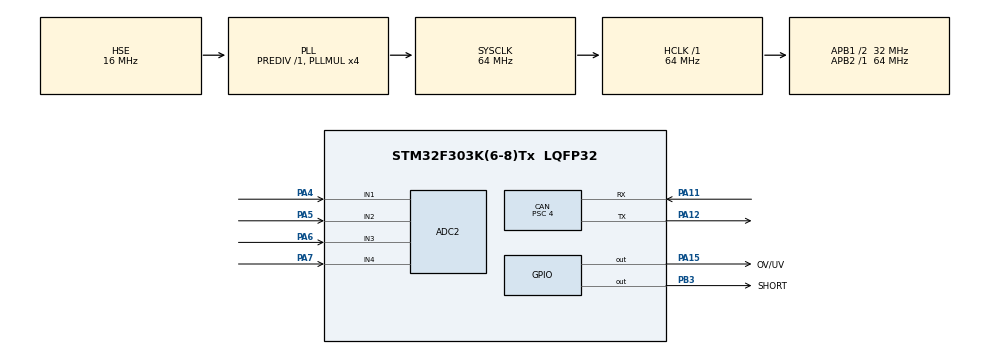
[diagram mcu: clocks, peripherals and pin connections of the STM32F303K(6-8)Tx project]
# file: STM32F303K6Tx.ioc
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ADC2.Channel-0\#ChannelRegularConversion=ADC_CHANNEL_1
ADC2.Channel-1\#ChannelRegularConversion=ADC_CHANNEL_2
ADC2.Channel-2\#ChannelRegularConversion=ADC_CHANNEL_3
ADC2.Channel-3\#ChannelRegularConversion=ADC_CHANNEL_4
ADC2.ContinuousConvMode=ENABLE
ADC2.DMAContinuousRequests=ENABLE
ADC2.NbrOfConversion=4
ADC2.NbrOfConversionFlag=1
ADC2.Offset-0\#ChannelRegularConversion=0
ADC2.Offset-1\#ChannelRegularConversion=0
ADC2.Offset-2\#ChannelRegularConversion=0
ADC2.Offset-3\#ChannelRegularConversion=0
ADC2.OffsetNumber-0\#ChannelRegularConversion=ADC_OFFSET_NONE
ADC2.OffsetNumber-1\#ChannelRegularConversion=ADC_OFFSET_NONE
ADC2.OffsetNumber-2\#ChannelRegularConversion=ADC_OFFSET_NONE
ADC2.OffsetNumber-3\#ChannelRegularConversion=ADC_OFFSET_NONE
ADC2.Rank-0\#ChannelRegularConversion=1
ADC2.Rank-1\#ChannelRegularConversion=2
ADC2.Rank-2\#ChannelRegularConversion=3
ADC2.Rank-3\#ChannelRegularConversion=4
ADC2.SamplingTime-0\#ChannelRegularConversion=ADC_SAMPLETIME_1CYCLE_5
ADC2.SamplingTime-1\#ChannelRegularConversion=ADC_SAMPLETIME_1CYCLE_5
ADC2.SamplingTime-2\#ChannelRegularConversion=ADC_SAMPLETIME_1CYCLE_5
ADC2.SamplingTime-3\#ChannelRegularConversion=ADC_SAMPLETIME_1CYCLE_5
ADC2.SamplingTimeOPAMP-1\#ChannelRegularConversion=ADC_SAMPLETIME_4CYCLES_5
ADC2.SamplingTimeOPAMP-2\#ChannelRegularConversion=ADC_SAMPLETIME_4CYCLES_5
ADC2.SamplingTimeOPAMP-3\#ChannelRegularConversion=ADC_SAMPLETIME_4CYCLES_5
CAN.BS1=CAN_BS1_11TQ
CAN.BS2=CAN_BS2_4TQ
CAN.CalculateBaudRate=500000
CAN.CalculateTimeBit=2000
CAN.CalculateTimeQuantum=125.0
CAN.Prescaler=4
Dma.ADC2.0.Direction=DMA_PERIPH_TO_MEMORY
Dma.ADC2.0.Instance=DMA1_Channel2
Dma.ADC2.0.MemDataAlignment=DMA_MDATAALIGN_HALFWORD
Dma.ADC2.0.MemInc=DMA_MINC_ENABLE
Dma.ADC2.0.Mode=DMA_CIRCULAR
Dma.ADC2.0.PeriphDataAlignment=DMA_PDATAALIGN_HALFWORD
Dma.ADC2.0.PeriphInc=DMA_PINC_DISABLE
Dma.ADC2.0.Priority=DMA_PRIORITY_LOW
Dma.Request0=ADC2
Mcu.Family=STM32F3
Mcu.Name=STM32F303K(6-8)Tx
Mcu.Package=LQFP32
NVIC.DMA1_Channel2_IRQn=true\:0\:0\:false\:false\:true\:false\:true\:true
NVIC.PriorityGroup=NVIC_PRIORITYGROUP_4
NVIC.TIM1_UP_TIM16_IRQn=true\:0\:0\:false\:false\:true\:true\:true\:true
NVIC.TIM2_IRQn=true\:0\:0\:false\:false\:true\:true\:true\:true
PA11.Mode=CAN_Activate
PA11.Signal=CAN_RX
PA12.Mode=CAN_Activate
PA12.Signal=CAN_TX
PA13.Mode=Serial_Wire
PA13.Signal=SYS_JTMS-SWDIO
PA14.Mode=Serial_Wire
PA14.Signal=SYS_JTCK-SWCLK
PA15.GPIO_Label=OV/UV
PA15.Signal=GPIO_Output
PA4.Mode=IN1-Single-Ended
PA4.Signal=ADC2_IN1
PA5.Mode=IN2-Single-Ended
PA5.Signal=ADC2_IN2
PA6.Mode=IN3-Single-Ended
PA6.Signal=ADC2_IN3
PA7.Mode=IN4-Single-Ended
PA7.Signal=ADC2_IN4
PB3.GPIO_Label=SHORT
PB3.Signal=GPIO_Output
PF0\ /\ OSC_IN.Mode=HSE-External-Oscillator
PF0\ /\ OSC_IN.Signal=RCC_OSC_IN
PF1\ /\ OSC_OUT.Mode=HSE-External-Oscillator
PF1\ /\ OSC_OUT.Signal=RCC_OSC_OUT
ProjectManager.HeapSize=0x200
ProjectManager.StackSize=0x400
ProjectManager.TargetToolchain=STM32CubeIDE
RCC.AHBFreq_Value=64000000
RCC.APB1CLKDivider=RCC_HCLK_DIV2
RCC.APB1Freq_Value=32000000
RCC.APB1TimFreq_Value=64000000
RCC.APB2Freq_Value=64000000
RCC.APB2TimFreq_Value=64000000
RCC.CortexFreq_Value=64000000
RCC.HCLKFreq_Value=64000000
RCC.HSE_VALUE=16000000
RCC.HSI_VALUE=8000000
RCC.PLLMUL=RCC_PLL_MUL4
RCC.PLLSourceVirtual=RCC_PLLSOURCE_HSE
RCC.SYSCLKFreq_VALUE=64000000
RCC.SYSCLKSourceVirtual=RCC_SYSCLKSOURCE_PLLCLK
TIM16.AutoReloadPreload=TIM_AUTORELOAD_PRELOAD_ENABLE
TIM16.Period=41999
TIM16.Prescaler=199
TIM2.Period=399
TIM2.Prescaler=31999
VP_TIM16_VS_ClockSourceINT.Mode=Enable_Timer
VP_TIM2_VS_ClockSourceINT.Mode=Internal
board=custom

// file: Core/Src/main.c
/* USER CODE BEGIN Header */
/**
  ******************************************************************************
  * @file           : main.c
  * @brief          : Main program body
  ******************************************************************************
  * @attention
  *
  * <h2><center>&copy; Copyright (c) 2021 STMicroelectronics.
  * All rights reserved.</center></h2>
  *
  * This software component is licensed by ST under BSD 3-Clause license,
  * the "License"; You may not use this file except in compliance with the
  * License. You may obtain a copy of the License at:
  *                        opensource.org/licenses/BSD-3-Clause
  *
  ******************************************************************************
  */
/* USER CODE END Header */
#include "main.h"

/* USER CODE BEGIN Includes */
#include "string.h"
/* USER CODE END Includes */

/* USER CODE BEGIN PD */
#define ADC_TO_VOLTAGE 0.000050366F
#define R_SHUNT 0.005F
#define VGain_1 8.5*ADC_TO_VOLTAGE
#define VGain_2 2.0*ADC_TO_VOLTAGE
#define IGain	ADC_TO_VOLTAGE/50.0/R_SHUNT
/* USER CODE END PD */

ADC_HandleTypeDef hadc2;
DMA_HandleTypeDef hdma_adc2;

CAN_HandleTypeDef hcan;

TIM_HandleTypeDef htim2;
TIM_HandleTypeDef htim16;

/* USER CODE BEGIN PV */
uint16_t ADC2ConvertedValues[64];
float VSense[2]; 	// first one is 5V, second one is 24V
float ISense[2]; 	// first one is 5V, second one is 24V
float offset[4] = {0.0, 0.0, 0.0, 0.0};
uint32_t sum = 0;
uint16_t mean = 0;
/* USER CODE END PV */

void SystemClock_Config(void);
static void MX_GPIO_Init(void);
static void MX_DMA_Init(void);
static void MX_ADC2_Init(void);
static void MX_CAN_Init(void);
static void MX_TIM2_Init(void);
static void MX_TIM16_Init(void);

int main(void)
{

  /* MCU Configuration--------------------------------------------------------*/

  /* Reset of all peripherals, Initializes the Flash interface and the Systick. */
  HAL_Init();

  /* Configure the system clock */
  SystemClock_Config();

  /* Initialize all configured peripherals */
  MX_GPIO_Init();
  MX_DMA_Init();
  MX_ADC2_Init();
  MX_CAN_Init();
  MX_TIM2_Init();
  MX_TIM16_Init();
  /* USER CODE BEGIN 2 */
  // Initializes CAN
  if (CANBus_init(&hcan, &htim16) != HAL_OK) {
    Error_Handler();
  }
  if(CANBus_subscribe(STATE_CHANGE_REQ) != HAL_OK) {
      Error_Handler();
  }

  hcan.Instance->MCR = 0x60; // important for debugging canbus, allows for normal operation during debugging
  HAL_ADC_Start_DMA(&hadc2, (uint32_t*)ADC2ConvertedValues, 64);
  //HAL_TIM_Base_Start_IT(&htim2);
  //__HAL_TIM_SET_COUNTER(&htim2, 0);
 // HAL_ADC_Start(&hadc2);

  /* USER CODE END 2 */

  /* Infinite loop */
  /* USER CODE BEGIN WHILE */

  while (1)
  {

      // TX Code
      CANFrame tx_frame1;
      CANFrame tx_frame2;

      tx_frame1 = CANFrame_init(CURRENT_5V_DATA);
      CANFrame_set_field(&tx_frame1, CURRENT_5V, FLOAT_TO_UINT(ISense[0]));
      CANBus_put_frame(&tx_frame1);

      tx_frame2 = CANFrame_init(CURRENT_24V_DATA);
      CANFrame_set_field(&tx_frame2, CURRENT_24V, FLOAT_TO_UINT(ISense[1]));
      CANBus_put_frame(&tx_frame2);

      HAL_Delay(200);
    /* USER CODE END WHILE */

  }
}

void SystemClock_Config(void)
{
  RCC_OscInitTypeDef RCC_OscInitStruct = {0};
  RCC_ClkInitTypeDef RCC_ClkInitStruct = {0};
  RCC_PeriphCLKInitTypeDef PeriphClkInit = {0};

  /** Initializes the RCC Oscillators according to the specified parameters
  * in the RCC_OscInitTypeDef structure.
  */
  RCC_OscInitStruct.OscillatorType = RCC_OSCILLATORTYPE_HSE;
  RCC_OscInitStruct.HSEState = RCC_HSE_ON;
  RCC_OscInitStruct.HSEPredivValue = RCC_HSE_PREDIV_DIV1;
  RCC_OscInitStruct.HSIState = RCC_HSI_ON;
  RCC_OscInitStruct.PLL.PLLState = RCC_PLL_ON;
  RCC_OscInitStruct.PLL.PLLSource = RCC_PLLSOURCE_HSE;
  RCC_OscInitStruct.PLL.PLLMUL = RCC_PLL_MUL4;
  if (HAL_RCC_OscConfig(&RCC_OscInitStruct) != HAL_OK)
  {
    Error_Handler();
  }
  /** Initializes the CPU, AHB and APB buses clocks
  */
  RCC_ClkInitStruct.ClockType = RCC_CLOCKTYPE_HCLK|RCC_CLOCKTYPE_SYSCLK
                              |RCC_CLOCKTYPE_PCLK1|RCC_CLOCKTYPE_PCLK2;
  RCC_ClkInitStruct.SYSCLKSource = RCC_SYSCLKSOURCE_PLLCLK;
  RCC_ClkInitStruct.AHBCLKDivider = RCC_SYSCLK_DIV1;
  RCC_ClkInitStruct.APB1CLKDivider = RCC_HCLK_DIV2;
  RCC_ClkInitStruct.APB2CLKDivider = RCC_HCLK_DIV1;

  if (HAL_RCC_ClockConfig(&RCC_ClkInitStruct, FLASH_LATENCY_2) != HAL_OK)
  {
    Error_Handler();
  }
  PeriphClkInit.PeriphClockSelection = RCC_PERIPHCLK_ADC12;
  PeriphClkInit.Adc12ClockSelection = RCC_ADC12PLLCLK_DIV1;
  if (HAL_RCCEx_PeriphCLKConfig(&PeriphClkInit) != HAL_OK)
  {
    Error_Handler();
  }
}

static void MX_ADC2_Init(void)
{

  ADC_ChannelConfTypeDef sConfig = {0};

  /** Common config
  */
  hadc2.Instance = ADC2;
  hadc2.Init.ClockPrescaler = ADC_CLOCK_ASYNC_DIV1;
  hadc2.Init.Resolution = ADC_RESOLUTION_12B;
  hadc2.Init.ScanConvMode = ADC_SCAN_ENABLE;
  hadc2.Init.ContinuousConvMode = ENABLE;
  hadc2.Init.DiscontinuousConvMode = DISABLE;
  hadc2.Init.ExternalTrigConvEdge = ADC_EXTERNALTRIGCONVEDGE_NONE;
  hadc2.Init.ExternalTrigConv = ADC_SOFTWARE_START;
  hadc2.Init.DataAlign = ADC_DATAALIGN_RIGHT;
  hadc2.Init.NbrOfConversion = 4;
  hadc2.Init.DMAContinuousRequests = ENABLE;
  hadc2.Init.EOCSelection = ADC_EOC_SINGLE_CONV;
  hadc2.Init.LowPowerAutoWait = DISABLE;
  hadc2.Init.Overrun = ADC_OVR_DATA_OVERWRITTEN;
  if (HAL_ADC_Init(&hadc2) != HAL_OK)
  {
    Error_Handler();
  }
  /** Configure Regular Channel
  */
  sConfig.Channel = ADC_CHANNEL_1;
  sConfig.Rank = ADC_REGULAR_RANK_1;
  sConfig.SingleDiff = ADC_SINGLE_ENDED;
  sConfig.SamplingTime = ADC_SAMPLETIME_1CYCLE_5;
  sConfig.OffsetNumber = ADC_OFFSET_NONE;
  sConfig.Offset = 0;
  if (HAL_ADC_ConfigChannel(&hadc2, &sConfig) != HAL_OK)
  {
    Error_Handler();
  }
  /** Configure Regular Channel
  */
  sConfig.Channel = ADC_CHANNEL_2;
  sConfig.Rank = ADC_REGULAR_RANK_2;
  if (HAL_ADC_ConfigChannel(&hadc2, &sConfig) != HAL_OK)
  {
    Error_Handler();
  }
  /** Configure Regular Channel
  */
  sConfig.Channel = ADC_CHANNEL_3;
  sConfig.Rank = ADC_REGULAR_RANK_3;
  if (HAL_ADC_ConfigChannel(&hadc2, &sConfig) != HAL_OK)
  {
    Error_Handler();
  }
  /** Configure Regular Channel
  */
  sConfig.Channel = ADC_CHANNEL_4;
  sConfig.Rank = ADC_REGULAR_RANK_4;
  if (HAL_ADC_ConfigChannel(&hadc2, &sConfig) != HAL_OK)
  {
    Error_Handler();
  }

}

static void MX_CAN_Init(void)
{

  hcan.Instance = CAN;
  hcan.Init.Prescaler = 4;
  hcan.Init.Mode = CAN_MODE_NORMAL;
  hcan.Init.SyncJumpWidth = CAN_SJW_1TQ;
  hcan.Init.TimeSeg1 = CAN_BS1_11TQ;
  hcan.Init.TimeSeg2 = CAN_BS2_4TQ;
  hcan.Init.TimeTriggeredMode = DISABLE;
  hcan.Init.AutoBusOff = DISABLE;
  hcan.Init.AutoWakeUp = DISABLE;
  hcan.Init.AutoRetransmission = DISABLE;
  hcan.Init.ReceiveFifoLocked = DISABLE;
  hcan.Init.TransmitFifoPriority = DISABLE;
  if (HAL_CAN_Init(&hcan) != HAL_OK)
  {
    Error_Handler();
  }
  /* USER CODE BEGIN CAN_Init 2 */
  /*
  FilterConfig.FilterIdHigh = 0x0000;
  FilterConfig.FilterIdLow = 0x0000;
  FilterConfig.FilterMaskIdHigh = 0x0000;
  FilterConfig.FilterMaskIdLow = 0x0000;
  FilterConfig.FilterFIFOAssignment = CAN_FILTER_FIFO0;
  FilterConfig.FilterBank = 13;
  FilterConfig.FilterMode = CAN_FILTERMODE_IDMASK;
  FilterConfig.FilterScale = CAN_FILTERSCALE_16BIT;
  FilterConfig.FilterActivation = CAN_FILTER_ENABLE;
  HAL_CAN_ConfigFilter(&hcan, &FilterConfig);
  */

}

static void MX_TIM2_Init(void)
{

  TIM_ClockConfigTypeDef sClockSourceConfig = {0};
  TIM_MasterConfigTypeDef sMasterConfig = {0};

  htim2.Instance = TIM2;
  htim2.Init.Prescaler = 31999;
  htim2.Init.CounterMode = TIM_COUNTERMODE_UP;
  htim2.Init.Period = 399;
  htim2.Init.ClockDivision = TIM_CLOCKDIVISION_DIV1;
  htim2.Init.AutoReloadPreload = TIM_AUTORELOAD_PRELOAD_DISABLE;
  if (HAL_TIM_Base_Init(&htim2) != HAL_OK)
  {
    Error_Handler();
  }
  sClockSourceConfig.ClockSource = TIM_CLOCKSOURCE_INTERNAL;
  if (HAL_TIM_ConfigClockSource(&htim2, &sClockSourceConfig) != HAL_OK)
  {
    Error_Handler();
  }
  sMasterConfig.MasterOutputTrigger = TIM_TRGO_RESET;
  sMasterConfig.MasterSlaveMode = TIM_MASTERSLAVEMODE_DISABLE;
  if (HAL_TIMEx_MasterConfigSynchronization(&htim2, &sMasterConfig) != HAL_OK)
  {
    Error_Handler();
  }

}

static void MX_TIM16_Init(void)
{

  htim16.Instance = TIM16;
  htim16.Init.Prescaler = 199;
  htim16.Init.CounterMode = TIM_COUNTERMODE_UP;
  htim16.Init.Period = 41999;
  htim16.Init.ClockDivision = TIM_CLOCKDIVISION_DIV1;
  htim16.Init.RepetitionCounter = 0;
  htim16.Init.AutoReloadPreload = TIM_AUTORELOAD_PRELOAD_ENABLE;
  if (HAL_TIM_Base_Init(&htim16) != HAL_OK)
  {
    Error_Handler();
  }

}

static void MX_DMA_Init(void)
{

  /* DMA controller clock enable */
  __HAL_RCC_DMA1_CLK_ENABLE();

  /* DMA interrupt init */
  /* DMA1_Channel2_IRQn interrupt configuration */
  HAL_NVIC_SetPriority(DMA1_Channel2_IRQn, 0, 0);
  HAL_NVIC_EnableIRQ(DMA1_Channel2_IRQn);

}

static void MX_GPIO_Init(void)
{
  GPIO_InitTypeDef GPIO_InitStruct = {0};

  /* GPIO Ports Clock Enable */
  __HAL_RCC_GPIOF_CLK_ENABLE();
  __HAL_RCC_GPIOA_CLK_ENABLE();
  __HAL_RCC_GPIOB_CLK_ENABLE();

  /*Configure GPIO pin Output Level */
  HAL_GPIO_WritePin(OV_UV_GPIO_Port, OV_UV_Pin, GPIO_PIN_RESET);

  /*Configure GPIO pin Output Level */
  HAL_GPIO_WritePin(SHORT_GPIO_Port, SHORT_Pin, GPIO_PIN_RESET);

  /*Configure GPIO pin : OV_UV_Pin */
  GPIO_InitStruct.Pin = OV_UV_Pin;
  GPIO_InitStruct.Mode = GPIO_MODE_OUTPUT_PP;
  GPIO_InitStruct.Pull = GPIO_NOPULL;
  GPIO_InitStruct.Speed = GPIO_SPEED_FREQ_LOW;
  HAL_GPIO_Init(OV_UV_GPIO_Port, &GPIO_InitStruct);

  /*Configure GPIO pin : SHORT_Pin */
  GPIO_InitStruct.Pin = SHORT_Pin;
  GPIO_InitStruct.Mode = GPIO_MODE_OUTPUT_PP;
  GPIO_InitStruct.Pull = GPIO_NOPULL;
  GPIO_InitStruct.Speed = GPIO_SPEED_FREQ_LOW;
  HAL_GPIO_Init(SHORT_GPIO_Port, &GPIO_InitStruct);

}

/* USER CODE BEGIN 4 */

void HAL_ADC_ConvCpltCallback(ADC_HandleTypeDef* hadc) {

	for (uint8_t i=0; i < 4; i++) {
		sum = 0;
		mean = 0;

		for(uint8_t j=0; j < 16; j++) {
			sum += ADC2ConvertedValues[i + 4*j];
		}

		mean = sum/16;

		switch (i)
		{
			case 0:
				if ( (mean > 3500) || ( mean < 2850) ) {
					HAL_GPIO_WritePin(OV_UV_GPIO_Port, OV_UV_Pin, GPIO_PIN_SET);
				}
				VSense[0] = (((float)mean)*VGain_2) + offset[i];
			break;

			case 1:
				if ( (mean > 3750) || ( mean < 2850) ) {
					HAL_GPIO_WritePin(OV_UV_GPIO_Port, OV_UV_Pin, GPIO_PIN_SET);
				}
				VSense[1] = (((float)mean)*VGain_1) + offset[i];
				break;

			case 2:
				if (mean > 700) {
					HAL_GPIO_WritePin(SHORT_GPIO_Port, SHORT_Pin, GPIO_PIN_SET);
				}
				ISense[0] = (((float)mean)*IGain) + offset[i];
				break;

			case 3:
				if (mean > 3100) {
					HAL_GPIO_WritePin(SHORT_GPIO_Port, SHORT_Pin, GPIO_PIN_SET);
				}
				ISense[1] = (((float)mean)*IGain) + offset[i];
				break;

			default:
				break;
		}

	}
}

void HAL_TIM_PeriodElapsedCallback(TIM_HandleTypeDef *htim) {
	WLoopCAN_timer_isr(htim);

}

/* USER CODE END 4 */

void Error_Handler(void)
{
  __disable_irq();
  while (1)
  {
  }
}

/************************ (C) COPYRIGHT STMicroelectronics *****END OF FILE****/
